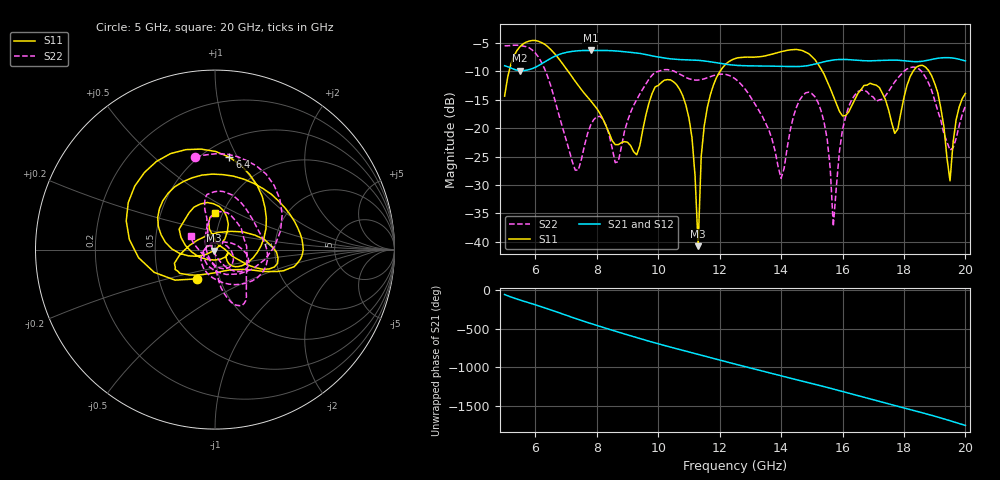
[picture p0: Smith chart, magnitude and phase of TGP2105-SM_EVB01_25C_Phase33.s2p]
! Date: Wednesday, June 05, 2013  1:51 PM
! Filename: C:\Data\Mike_Arnold\TGP2105-SM\Over_Temp\TGP2105-SM_EVB01_25C_Phase33.s2p
! Comments:
!^VDC(V):5.000
!^VDC(mA):0.022
!%Freq(GHz),S11(dB),S11(ang),S21(dB),S21(ang),S12(dB),S12(ang),S22(dB),S22(ang)
# GHz  S  DB  R  50
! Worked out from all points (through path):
!   151 points, 5 GHz to 20 GHz, reference 50 ohm
!   highest |S21| = -6.34 dB at 7.8 GHz (marker M1); lowest = -9.9 dB at 5.5 GHz (marker M2)
!   lowest |S11| = -40.7 dB at 11.3 GHz (marker M3), VSWR 1.02, Z = 49.3 - j0.607 ohm
!   |S11| at or under -10 dB: 7.067 GHz to 12.02 GHz (4.949 GHz wide, 51.9 % of centre); 15.35 GHz to 18.3 GHz (2.953 GHz wide, 17.6 % of centre); 18.82 GHz to end of sweep (the widest 3 of 4)
!   |S22| runs from -37.3 to -5.4 dB; largest |S21 - S12| = 0.002
!   S11 on the Smith chart (normalised r, x): 5 GHz: 0.78, -0.26; 6.4 GHz: 0.66, +0.93; 20 GHz: 0.92, +0.39
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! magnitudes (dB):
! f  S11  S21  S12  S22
! 5 GHz  -14.4  -9.0  -9.0  -5.5
! 5.5 GHz  -5.7  -9.9  -9.9  -5.5
! 6.4 GHz  -5.7  -8.0  -8.1  -10.9
! 7.5 GHz  -13.2  -6.4  -6.4  -25.5
! 7.8 GHz  -15.2  -6.3  -6.4  -19.5
! 8.7 GHz  -22.9  -6.5  -6.5  -25.9
! 9.3 GHz  -24.7  -6.8  -6.8  -15.0
! 10 GHz  -12.5  -7.5  -7.5  -10.0
! 10.9 GHz  -15.9  -8.0  -8.0  -11.1
! 11.3 GHz  -40.7  -8.1  -8.1  -11.6
! 11.4 GHz  -24.9  -8.1  -8.1  -11.5
! 11.6 GHz  -16.4  -8.3  -8.3  -11.1
! 12.5 GHz  -7.8  -8.9  -9.0  -11.3
! 14 GHz  -6.6  -9.1  -9.1  -28.8
! 15 GHz  -7.4  -8.9  -8.9  -13.9
! 15.5 GHz  -11.7  -8.2  -8.2  -21.9
! 15.7 GHz  -14.4  -8.0  -8.0  -37.3
! 16.2 GHz  -17.2  -8.0  -8.0  -16.2
! 17.5 GHz  -16.8  -8.1  -8.1  -13.5
! 18.8 GHz  -9.9  -8.0  -8.1  -12.1
! 19.5 GHz  -29.3  -7.6  -7.7  -23.9
! 20 GHz  -13.9  -8.2  -8.2  -16.1
